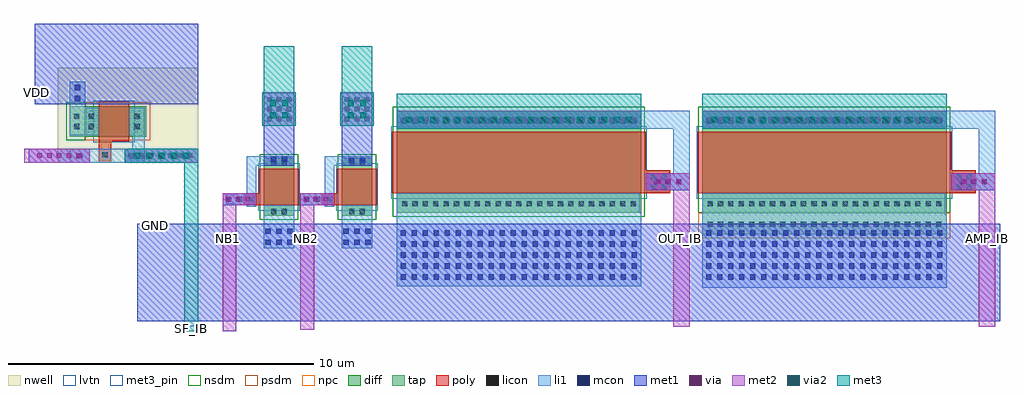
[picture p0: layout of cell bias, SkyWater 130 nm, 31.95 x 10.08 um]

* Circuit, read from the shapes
.subckt bias AMP_IB GND NB1 NB2 OUT_IB SF_IB VDD
XM1 NB1 NB1 GND GND sky130_fd_pr__nfet_01v8_lvt w=1 l=1.2
XM2 NB2 NB2 GND GND sky130_fd_pr__nfet_01v8_lvt w=1 l=1.2
XM3 OUT_IB OUT_IB GND GND sky130_fd_pr__nfet_01v8_lvt w=8 l=2
XM4 AMP_IB AMP_IB GND GND sky130_fd_pr__nfet_01v8_lvt w=8 l=2
XM5 SF_IB SF_IB VDD VDD sky130_fd_pr__pfet_01v8_lvt w=1 l=1
.ends

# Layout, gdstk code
import gdstk
lib = gdstk.Library(unit=1e-6, precision=1e-09)
def R(c, l, rs):  # rectangles x0, y0, x1, y1
    for r in rs: c.add(gdstk.rectangle(r[:2], r[2:], *l))
def A(c, l, x, y, w, h, nx, ny, dx, dy):  # array of equal rectangles
    R(c, l, [(x+i*dx, y+j*dy, x+i*dx+w, y+j*dy+h) for i in range(nx) for j in range(ny)])
nwell = (64, 20)
diff = (65, 20)
tap = (65, 44)
poly = (66, 20)
licon = (66, 44)
li1 = (67, 20)
mcon = (67, 44)
met1 = (68, 20)
via = (68, 44)
met2 = (69, 20)
via2 = (69, 44)
met3_pin = (70, 16)
met3 = (70, 20)
nsdm = (93, 44)
psdm = (94, 20)
npc = (95, 20)
lvtn = (125, 44)

bias = lib.new_cell('bias')
R(bias, nwell, [(5.05,-5.66,9.65,-2.55)])
R(bias, diff, [(11.8,-7.4,12.8,-5.5), (14.35,-7.4,15.35,-5.5), (16.15,-7.3,24.15,-3.95), (26.15,-7.3,34.15,-3.95), (5.95,-4.8,7.95,-3.8)])
R(bias, tap, [(26.15,-8,34.15,-7.3), (5.45,-4.8,5.95,-3.8)])
R(bias, poly, [(11.15,-7.05,12.95,-6.65), (13.7,-7.05,15.5,-6.65), (11.65,-6.65,12.95,-5.85), (14.2,-6.65,15.5,-5.85), (16,-6.65,25.1,-5.9), (26,-6.65,35.1,-5.9), (16,-5.9,24.3,-4.65), (26,-5.9,34.3,-4.65), (6.4,-5.65,6.8,-4.95), (6.4,-4.95,7.4,-3.65)])
A(bias, licon, 26.325, -7.76, 0.17, 0.17, 23, 2, 0.34, 0.675)
A(bias, licon, 16.325, -7.085, 0.17, 0.17, 23, 2, 0.34, 2.7)
A(bias, licon, 26.325, -4.385, 0.17, 0.17, 23, 1, 0.34, 0)
R(bias, licon, [(12.045,-7.335,12.215,-7.165), (12.385,-7.335,12.555,-7.165), (14.595,-7.335,14.765,-7.165), (14.935,-7.335,15.105,-7.165), (11.315,-6.935,11.485,-6.765), (13.865,-6.935,14.035,-6.765), (24.47,-6.53,24.64,-6.36), (24.81,-6.53,24.98,-6.36), (34.47,-6.53,34.64,-6.36), (34.81,-6.53,34.98,-6.36), (24.47,-6.19,24.64,-6.02), (24.81,-6.19,24.98,-6.02), (34.47,-6.19,34.64,-6.02), (34.81,-6.19,34.98,-6.02), (12.045,-5.735,12.215,-5.565), (12.385,-5.735,12.555,-5.565), (14.595,-5.735,14.765,-5.565), (14.935,-5.735,15.105,-5.565), (6.515,-5.485,6.685,-5.315), (5.59,-4.555,5.76,-4.385), (6.065,-4.555,6.235,-4.385), (7.565,-4.555,7.735,-4.385), (5.59,-4.215,5.76,-4.045), (6.065,-4.215,6.235,-4.045), (7.565,-4.215,7.735,-4.045)])
R(bias, li1, [(26.15,-9.75,34.15,-7.38), (16.15,-9.7,24.15,-7.3), (11.8,-8.45,12.8,-7.05), (14.35,-8.45,15.35,-7.05), (26.15,-7.38,34.1,-6.65), (16.15,-7.3,24.1,-6.65), (11.25,-7.1,11.55,-7.05), (13.8,-7.1,14.1,-7.05), (10.9,-7.05,11.55,-7), (13,-7.05,14.1,-6.65), (10.55,-7,11.55,-6.7), (10.9,-6.7,11.55,-6.65), (11.25,-6.65,11.55,-5.75), (13.8,-6.65,14.1,-5.75), (24.3,-6.55,25.75,-6), (34.3,-6.55,35.75,-6), (25.2,-6,25.75,-4.55), (35.2,-6,35.75,-4.55), (11.25,-5.75,12.8,-5.45), (13.8,-5.75,15.35,-5.45), (5.45,-5.65,7.9,-5.2), (7.5,-5.2,7.9,-4.75), (5.45,-4.75,6.4,-3.85), (7.4,-4.75,7.9,-3.85), (16.15,-4.55,25.75,-3.95), (26.15,-4.55,35.75,-3.95), (5.45,-3.85,5.95,-3)])
A(bias, mcon, 16.285, -9.48, 0.17, 0.17, 22, 5, 0.36, 0.36)
A(bias, mcon, 26.285, -9.48, 0.17, 0.17, 22, 5, 0.36, 0.36)
A(bias, mcon, 11.855, -8.34, 0.17, 0.17, 3, 2, 0.36, 0.36)
A(bias, mcon, 14.405, -8.34, 0.17, 0.17, 3, 2, 0.36, 0.36)
A(bias, mcon, 24.58, -6.36, 0.17, 0.17, 3, 1, 0.36, 0)
A(bias, mcon, 34.58, -6.36, 0.17, 0.17, 3, 1, 0.36, 0)
A(bias, mcon, 16.285, -4.36, 0.17, 0.17, 22, 1, 0.36, 0)
A(bias, mcon, 26.285, -4.36, 0.17, 0.17, 22, 1, 0.36, 0)
R(bias, mcon, [(10.56,-6.935,10.73,-6.765), (10.92,-6.935,11.09,-6.765), (13.11,-6.935,13.28,-6.765), (13.47,-6.935,13.64,-6.765), (14.585,-5.66,14.755,-5.49), (14.945,-5.66,15.115,-5.49), (12.035,-5.635,12.205,-5.465), (12.395,-5.635,12.565,-5.465), (5.69,-5.51,5.86,-5.34), (7.36,-5.51,7.53,-5.34), (7.72,-5.51,7.89,-5.34), (5.615,-3.64,5.785,-3.47), (5.615,-3.28,5.785,-3.11)])
R(bias, met1, [(7.65,-10.85,35.9,-7.65), (10.45,-7.05,11.55,-6.65), (13,-7.05,14.1,-6.65), (24.3,-6.55,25.75,-6), (34.3,-6.55,35.75,-6), (11.8,-5.75,12.8,-3.37), (14.35,-5.75,15.35,-3.37), (4.1,-5.65,6.1,-5.2), (7.25,-5.65,9.65,-5.2), (16.15,-4.55,24.15,-3.95), (26.15,-4.55,34.15,-3.95), (4.3,-3.75,9.65,-1.1)])
A(bias, via, 10.555, -6.925, 0.15, 0.15, 3, 1, 0.32, 0)
A(bias, via, 13.105, -6.925, 0.15, 0.15, 3, 1, 0.32, 0)
A(bias, via, 24.655, -6.35, 0.15, 0.15, 3, 1, 0.32, 0)
A(bias, via, 34.655, -6.35, 0.15, 0.15, 3, 1, 0.32, 0)
A(bias, via, 4.385, -5.5, 0.15, 0.15, 5, 1, 0.32, 0)
A(bias, via, 7.39, -5.5, 0.15, 0.15, 7, 1, 0.32, 0)
A(bias, via, 16.395, -4.325, 0.15, 0.15, 24, 1, 0.32, 0)
A(bias, via, 26.395, -4.325, 0.15, 0.15, 24, 1, 0.32, 0)
A(bias, via, 11.905, -4.295, 0.15, 0.15, 3, 3, 0.32, 0.32)
A(bias, via, 14.455, -4.295, 0.15, 0.15, 3, 3, 0.32, 0.32)
R(bias, met2, [(10.45,-11.17,10.9,-7.05), (13,-11.12,13.45,-7.05), (25.2,-11.02,25.75,-6.55), (35.2,-11.02,35.75,-6.55), (10.45,-7.05,11.55,-6.65), (13,-7.05,14.1,-6.65), (24.3,-6.55,25.75,-6), (34.3,-6.55,35.75,-6), (3.95,-5.65,6.1,-5.2), (7.25,-5.65,9.65,-5.2), (16.15,-4.55,24.15,-3.95), (26.15,-4.55,34.15,-3.95), (11.75,-4.45,12.85,-3.35), (14.3,-4.45,15.4,-3.35)])
A(bias, via2, 7.55, -5.525, 0.2, 0.2, 5, 1, 0.4, 0)
A(bias, via2, 16.45, -4.35, 0.2, 0.2, 19, 1, 0.4, 0)
A(bias, via2, 26.45, -4.35, 0.2, 0.2, 19, 1, 0.4, 0)
R(bias, via2, [(12,-4.2,12.2,-4), (12.4,-4.2,12.6,-4), (14.55,-4.2,14.75,-4), (14.95,-4.2,15.15,-4), (12,-3.8,12.2,-3.6), (12.4,-3.8,12.6,-3.6), (14.55,-3.8,14.75,-3.6), (14.95,-3.8,15.15,-3.6)])
R(bias, met3_pin, [(9.2,-11.18,9.65,-11)])
R(bias, met3, [(9.2,-11.18,9.65,-5.65), (7.25,-5.65,9.65,-5.2), (16.15,-4.55,24.15,-3.4), (26.15,-4.55,34.15,-3.4), (11.75,-4.45,12.85,-3.35), (14.3,-4.45,15.4,-3.35), (11.8,-3.35,12.8,-1.85), (14.35,-3.35,15.35,-1.85)])
R(bias, nsdm, [(11.675,-7.525,12.925,-5.375), (14.225,-7.525,15.475,-5.375), (16.025,-7.425,24.275,-3.825), (26.025,-7.3,34.275,-3.825), (5.325,-4.925,5.95,-3.675)])
R(bias, psdm, [(26.025,-8.125,34.275,-7.3), (5.95,-4.925,8.075,-3.675)])
R(bias, npc, [(11.215,-7.035,11.585,-6.665), (13.765,-7.035,14.135,-6.665), (24.37,-6.63,25.08,-5.92), (34.37,-6.63,35.08,-5.92), (6.415,-5.585,6.785,-5.215)])
R(bias, lvtn, [(11.62,-7.23,12.98,-5.67), (14.17,-7.23,15.53,-5.67), (15.97,-6.83,24.33,-4.47), (25.97,-6.83,34.33,-4.47), (6.22,-4.98,7.58,-3.62)])
bias.add(gdstk.Label('VDD', (4.35,-3.35), layer=68, texttype=5))
bias.add(gdstk.Label('NB1', (10.65,-8.15), layer=69, texttype=5))
bias.add(gdstk.Label('NB2', (13.2,-8.15), layer=69, texttype=5))
bias.add(gdstk.Label('OUT_IB', (25.45,-8.15), layer=69, texttype=5))
bias.add(gdstk.Label('AMP_IB', (35.5,-8.15), layer=69, texttype=5))
bias.add(gdstk.Label('GND', (8.25,-7.7), layer=68, texttype=5))
bias.add(gdstk.Label('SF_IB', (9.425,-11.09), layer=70, texttype=5))

lib.write_gds('bias.gds')
